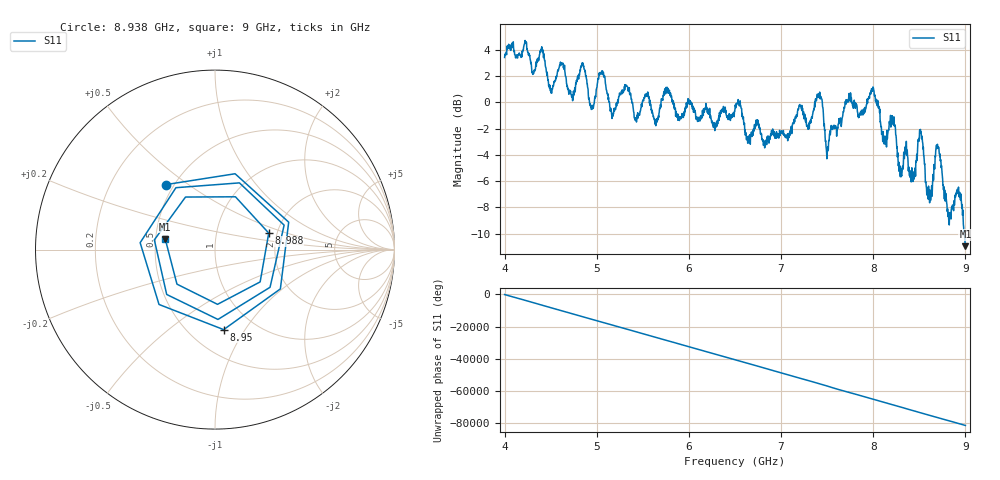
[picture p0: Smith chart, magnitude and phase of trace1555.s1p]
! Created with skrf 1.8.0 (http://scikit-rf.org).
# Hz S RI R 50.0
!freq ReS11 ImS11
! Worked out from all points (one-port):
!   1601 points, 4 GHz to 9 GHz, reference 50 ohm
!   lowest |S11| = -10.9 dB at 9 GHz (marker M1), VSWR 1.79, Z = 28.1 + j3.65 ohm
!   |S11| at or under -10 dB: 8.983891 GHz to end of sweep
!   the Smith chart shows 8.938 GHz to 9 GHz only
!   S11 on the Smith chart (normalised r, x): 8.938 GHz: 0.45, +0.41; 8.95 GHz: 0.72, -0.81; 8.988 GHz: 1.81, +0.37; 9 GHz: 0.56, +0.07
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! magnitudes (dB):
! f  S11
! 4 GHz  3.4
! 4.403 GHz  4.2
! 4.503 GHz  0.7
! 4.625 GHz  2.9
! 4.731 GHz  0.6
! 4.85 GHz  2.9
! 4.947 GHz  -0.5
! 5.05 GHz  2.1
! 5.166 GHz  -1.2
! 5.25 GHz  0.6
! 5.875 GHz  -1.0
! 6.5 GHz  -0.5
! 6.647 GHz  -2.7
! 7.125 GHz  -1.6
! 7.416 GHz  0.6
! 7.503 GHz  -3.8
! 7.75 GHz  0.1
! 7.997 GHz  1.2
! 8.375 GHz  -4.2
! 8.434 GHz  -5.4
! 8.512 GHz  -2.1
! 8.603 GHz  -6.8
! 8.7 GHz  -3.4
! 8.819 GHz  -8.9
! 8.938 GHz  -6.8
! 8.95 GHz  -7.0
! 8.988 GHz  -10.1
! 9 GHz  -10.9
